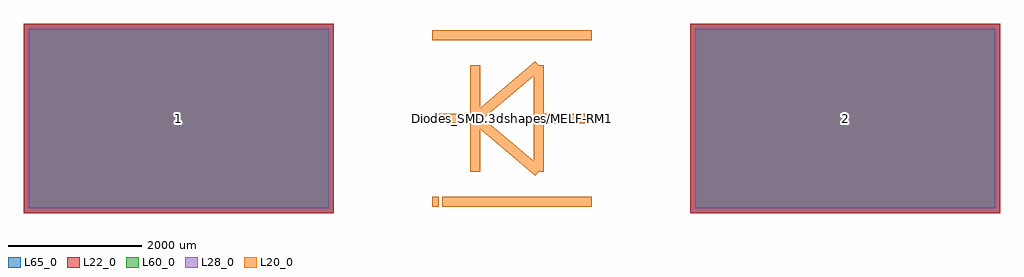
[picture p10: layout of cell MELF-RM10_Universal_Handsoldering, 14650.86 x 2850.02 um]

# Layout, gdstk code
import gdstk
lib = gdstk.Library(unit=1e-6, precision=1e-09)
def R(c, l, rs):  # rectangles x0, y0, x1, y1
    for r in rs: c.add(gdstk.rectangle(r[:2], r[2:], *l))
L20_0 = (20, 0)
L22_0 = (22, 0)
L28_0 = (28, 0)
L60_0 = (60, 0)
L65_0 = (65, 0)

melf_rm10_universal_hand = lib.new_cell('MELF-RM10_Universal_Handsoldering')
R(melf_rm10_universal_hand, L22_0, [(-7325.43,-1425.01,-2677.09,1425.01), (2677.09,-1425.01,7325.43,1425.01)])
R(melf_rm10_universal_hand, L28_0, [(-7250.43,-1350.01,-2752.09,1350.01), (2752.09,-1350.01,7250.43,1350.01)])
R(melf_rm10_universal_hand, L60_0, [(-7250.43,-1350.01,-2752.09,1350.01), (2752.09,-1350.01,7250.43,1350.01)])
R(melf_rm10_universal_hand, L65_0, [(-7325.43,-1425.01,-2677.09,1425.01), (2677.09,-1425.01,7325.43,1425.01)])
melf_rm10_universal_hand.add(gdstk.FlexPath([(1198.88,-1249.68),(-1049.02,-1249.68)], 149.998, ends="flush", simple_path=True, layer=20, datatype=0))  # L20_0
melf_rm10_universal_hand.add(gdstk.FlexPath([(1198.88,1249.68),(-1150.62,1249.68)], 149.998, ends="flush", simple_path=True, layer=20, datatype=0))  # L20_0
melf_rm10_universal_hand.add(gdstk.FlexPath([(-1099.82,-1249.68),(-1198.88,-1249.68)], 149.998, ends="flush", simple_path=True, layer=20, datatype=0))  # L20_0
melf_rm10_universal_hand.add(gdstk.FlexPath([(-1099.82,1249.68),(-1198.88,1249.68)], 149.998, ends="flush", simple_path=True, layer=20, datatype=0))  # L20_0
melf_rm10_universal_hand.add(gdstk.FlexPath([(398.78,-800.1),(-551.18,0)], 149.998, ends="flush", simple_path=True, layer=20, datatype=0))  # L20_0
melf_rm10_universal_hand.add(gdstk.FlexPath([(398.78,800.1),(398.78,-800.1)], 149.998, ends="flush", simple_path=True, layer=20, datatype=0))  # L20_0
melf_rm10_universal_hand.add(gdstk.FlexPath([(-551.18,0),(398.78,800.1)], 149.998, ends="flush", simple_path=True, layer=20, datatype=0))  # L20_0
melf_rm10_universal_hand.add(gdstk.FlexPath([(-551.18,0),(-551.18,800.1)], 149.998, ends="flush", simple_path=True, layer=20, datatype=0))  # L20_0
melf_rm10_universal_hand.add(gdstk.FlexPath([(-551.18,0),(-551.18,-800.1)], 149.998, ends="flush", simple_path=True, layer=20, datatype=0))  # L20_0
melf_rm10_universal_hand.add(gdstk.FlexPath([(-551.18,0),(-1099.82,0)], 149.998, ends="flush", simple_path=True, layer=20, datatype=0))  # L20_0
melf_rm10_universal_hand.add(gdstk.FlexPath([(398.78,0),(1099.82,0)], 149.998, ends="flush", simple_path=True, layer=20, datatype=0))  # L20_0
melf_rm10_universal_hand.add(gdstk.Label('Diodes_SMD.3dshapes/MELF-RM10_Universal_Handsoldering.wrl', (0,0), layer=12, texttype=0))
melf_rm10_universal_hand.add(gdstk.Label('2', (5001.26,0), layer=28, texttype=0))
melf_rm10_universal_hand.add(gdstk.Label('1', (-5001.26,0), layer=28, texttype=0))
melf_rm10_universal_hand.add(gdstk.Label('A', (2349.5,-2148.84), layer=9, texttype=0))
melf_rm10_universal_hand.add(gdstk.Label('K', (-2550.16,-2049.78), layer=9, texttype=0))
melf_rm10_universal_hand.add(gdstk.Label('type', (0,-3810), layer=9, texttype=0))
melf_rm10_universal_hand.add(gdstk.Label('devicename', (0,2540), layer=9, texttype=0))

lib.write_gds('MELF-RM10_Universal_Handsoldering.gds')
